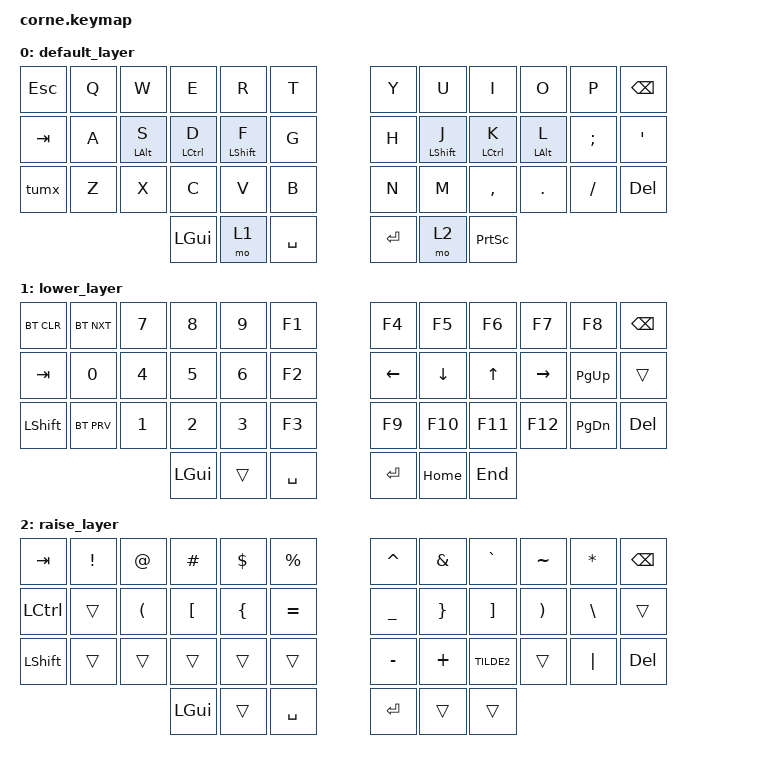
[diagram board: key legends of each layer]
/*
 * Copyright (c) 2020 The ZMK Contributors
 *
 * SPDX-License-Identifier: MIT
 */

#include <behaviors.dtsi>
#include <dt-bindings/zmk/bt.h>
#include <dt-bindings/zmk/keys.h>

/ {
    behaviors {
        bhm: balanced_homerow_mods {
            compatible = "zmk,behavior-hold-tap";
            #binding-cells = <2>;
            tapping-term-ms = <300>;    // <---[[moderate duration]]
            quick-tap-ms = <0>;
            flavor = "tap-preferred";
            bindings = <&kp>, <&kp>;
        };
    };

    macros {
        tumx: tumx {
            compatible = "zmk,behavior-macro";
            #binding-cells = <0>;
            bindings = <&kp LC(B)>;
            label = "TUMX";
        };
    };

    keymap {
        compatible = "zmk,keymap";

        default_layer {
            // -----------------------------------------------------------------------------------------
            // |  ESC |  Q  |  W  |  E  |  R  |  T  |   |  Y  |  U   |   I   |  O  |  P  | BSPC |
            // | TAB  |  A  |  S  |  D  |  F  |  G  |   |  H  |  J   |   K   |  L  |  :  |  '   |
            // |      |  Z  |  X  |  C  |  V  |  B  |   |  N  |  M   |   ,   |  .  |  /  |      |
            //                    | GUI | LWR | SPC |   | ENT | RSE  | PrtSc |

            bindings = <
&kp ESCAPE  &kp Q  &kp W            &kp E                &kp R              &kp T        &kp Y    &kp U              &kp I                &kp O            &kp P     &kp BSPC
&kp TAB     &kp A  &bhm LEFT_ALT S  &bhm LEFT_CONTROL D  &bhm LEFT_SHIFT F  &kp G        &kp H    &bhm LEFT_SHIFT J  &bhm LEFT_CONTROL K  &bhm LEFT_ALT L  &kp SEMI  &kp SQT
&tumx       &kp Z  &kp X            &kp C                &kp V              &kp B        &kp N    &kp M              &kp COMMA            &kp DOT          &kp FSLH  &kp DELETE
                                    &kp LGUI             &mo 1              &kp SPACE    &kp RET  &mo 2              &kp PRINTSCREEN
            >;
        };

        lower_layer {
            // -----------------------------------------------------------------------------------------
            // |  BTCLR |  BT_NXT  |  7  |  8  |  9  | F1  |   |  F4 |   F5 |  F6 |  F7 |   F8  | BSPC |
            // |   TAB  |  BT_PRV  |  4  |  5  |  6  | F2  |   | LFT |  DWN |  UP | RGT | PG_UP |      |
            // |  SHFT  |          |  1  |  2  |  3  | F3  |   |  F9 |  F10 | F11 | F12 | PG_DN |      |
            //                           | GUI |     | SPC |   | ENT | HOME | END |

            bindings = <
&bt BT_CLR  &bt BT_NXT  &kp N7  &kp N8    &kp N9  &kp F1       &kp F4    &kp F5    &kp F6   &kp F7     &kp F8         &kp BSPC
&kp TAB     &kp N0      &kp N4  &kp N5    &kp N6  &kp F2       &kp LEFT  &kp DOWN  &kp UP   &kp RIGHT  &kp PAGE_UP    &trans
&kp LSHFT   &bt BT_PRV  &kp N1  &kp N2    &kp N3  &kp F3       &kp F9    &kp F10   &kp F11  &kp F12    &kp PAGE_DOWN  &kp DELETE
                                &kp LGUI  &trans  &kp SPACE    &kp RET   &kp HOME  &kp END
            >;
        };

        raise_layer {
            // -----------------------------------------------------------------------------------------
            // |  TAB |  !  |  @  |  #  |  $  |  %  |   |  ^  |  &  |  `  |     |  *  | BSPC |
            // | CTRL |     |  (  |  [  |  {  |  =  |   |  _  |  }  |  ]  |  )  |  \  |      |
            // | SHFT |     |     |     |     |     |   |  -  |  +  |     |     | "|" |  ~   |
            //                    | GUI |     | SPC |   | ENT |     | ALT |

            bindings = <
&kp TAB    &kp EXCL  &kp AT    &kp HASH          &kp DLLR        &kp PRCNT    &kp CARET  &kp AMPS         &kp GRAVE          &kp TILDE              &kp ASTRK  &kp BSPC
&kp LCTRL  &trans    &kp LPAR  &kp LEFT_BRACKET  &kp LEFT_BRACE  &kp EQUAL    &kp UNDER  &kp RIGHT_BRACE  &kp RIGHT_BRACKET  &kp RIGHT_PARENTHESIS  &kp BSLH   &trans
&kp LSHFT  &trans    &trans    &trans            &trans          &trans       &kp MINUS  &kp PLUS         &kp TILDE2         &trans                 &kp PIPE   &kp DELETE
                               &kp LGUI          &trans          &kp SPACE    &kp RET    &trans           &trans
            >;
        };
    };
};
